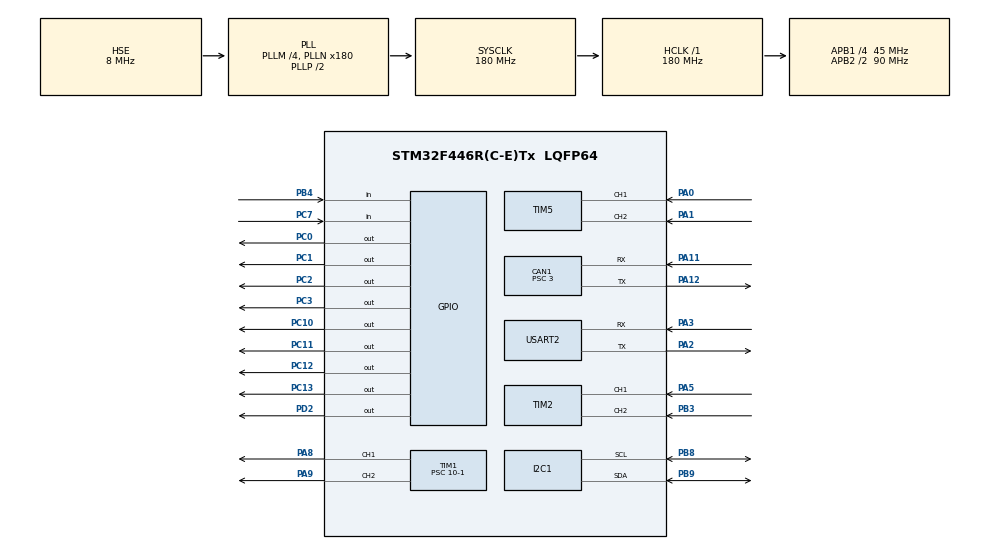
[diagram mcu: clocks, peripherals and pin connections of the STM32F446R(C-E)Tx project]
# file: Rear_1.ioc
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CAN1.ABOM=ENABLE
CAN1.BS1=CAN_BS1_12TQ
CAN1.BS2=CAN_BS2_2TQ
CAN1.CalculateBaudRate=1000000
CAN1.CalculateTimeBit=1000
CAN1.CalculateTimeQuantum=66.66666666666666
CAN1.NART=ENABLE
CAN1.Prescaler=3
I2C1.I2C_Mode=I2C_Fast
Mcu.Family=STM32F4
Mcu.Name=STM32F446R(C-E)Tx
Mcu.Package=LQFP64
NVIC.CAN1_RX0_IRQn=true\:0\:0\:false\:false\:true\:true\:true\:true
NVIC.I2C1_EV_IRQn=true\:0\:0\:false\:false\:true\:true\:true\:true
NVIC.PriorityGroup=NVIC_PRIORITYGROUP_0
NVIC.TIM2_IRQn=true\:0\:0\:false\:false\:true\:true\:true\:true
NVIC.TIM3_IRQn=true\:0\:0\:false\:false\:true\:true\:true\:true
NVIC.TIM4_IRQn=true\:0\:0\:false\:false\:true\:true\:true\:true
NVIC.TIM5_IRQn=true\:0\:0\:false\:false\:true\:true\:true\:true
NVIC.TIM7_IRQn=true\:0\:0\:false\:false\:true\:true\:true\:true
PA0-WKUP.Signal=S_TIM5_CH1
PA1.Signal=S_TIM5_CH2
PA11.Mode=CAN_Activate
PA11.Signal=CAN1_RX
PA12.Mode=CAN_Activate
PA12.Signal=CAN1_TX
PA2.Mode=Asynchronous
PA2.Signal=USART2_TX
PA3.Mode=Asynchronous
PA3.Signal=USART2_RX
PA5.Signal=S_TIM2_CH1_ETR
PA8.Signal=S_TIM1_CH1
PA9.Signal=S_TIM1_CH2
PB3.Signal=S_TIM2_CH2
PB4.Signal=GPIO_Input
PB8.Mode=I2C
PB8.Signal=I2C1_SCL
PB9.Mode=I2C
PB9.Signal=I2C1_SDA
PC0.GPIO_ModeDefaultOutputPP=GPIO_MODE_OUTPUT_OD
PC0.GPIO_PuPd=GPIO_NOPULL
PC0.Signal=GPIO_Output
PC1.GPIO_ModeDefaultOutputPP=GPIO_MODE_OUTPUT_OD
PC1.GPIO_PuPd=GPIO_NOPULL
PC1.Signal=GPIO_Output
PC10.GPIO_ModeDefaultOutputPP=GPIO_MODE_OUTPUT_OD
PC10.GPIO_PuPd=GPIO_NOPULL
PC10.Signal=GPIO_Output
PC11.GPIO_ModeDefaultOutputPP=GPIO_MODE_OUTPUT_OD
PC11.GPIO_PuPd=GPIO_NOPULL
PC11.Signal=GPIO_Output
PC12.GPIO_ModeDefaultOutputPP=GPIO_MODE_OUTPUT_OD
PC12.GPIO_PuPd=GPIO_NOPULL
PC12.Signal=GPIO_Output
PC13.Signal=GPIO_Output
PC14-OSC32_IN.Mode=LSE-External-Oscillator
PC14-OSC32_IN.Signal=RCC_OSC32_IN
PC15-OSC32_OUT.Mode=LSE-External-Oscillator
PC15-OSC32_OUT.Signal=RCC_OSC32_OUT
PC2.GPIO_ModeDefaultOutputPP=GPIO_MODE_OUTPUT_OD
PC2.GPIO_PuPd=GPIO_NOPULL
PC2.Signal=GPIO_Output
PC3.GPIO_ModeDefaultOutputPP=GPIO_MODE_OUTPUT_OD
PC3.GPIO_PuPd=GPIO_NOPULL
PC3.Signal=GPIO_Output
PC7.Signal=GPIO_Input
PD2.GPIO_ModeDefaultOutputPP=GPIO_MODE_OUTPUT_OD
PD2.GPIO_PuPd=GPIO_NOPULL
PD2.Signal=GPIO_Output
PH0-OSC_IN.Mode=HSE-External-Oscillator
PH0-OSC_IN.Signal=RCC_OSC_IN
PH1-OSC_OUT.Mode=HSE-External-Oscillator
PH1-OSC_OUT.Signal=RCC_OSC_OUT
ProjectManager.HeapSize=0x200
ProjectManager.StackSize=0x400
ProjectManager.TargetToolchain=STM32CubeIDE
RCC.48MHZClocksFreq_Value=84000000
RCC.AHBFreq_Value=180000000
RCC.APB1CLKDivider=RCC_HCLK_DIV4
RCC.APB1Freq_Value=45000000
RCC.APB1TimFreq_Value=90000000
RCC.APB2CLKDivider=RCC_HCLK_DIV2
RCC.APB2Freq_Value=90000000
RCC.APB2TimFreq_Value=180000000
RCC.CortexFreq_Value=180000000
RCC.FLatency-AdvancedSettings=FLASH_LATENCY_5
RCC.HCLKFreq_Value=180000000
RCC.HSE_VALUE=8000000
RCC.HSI_VALUE=16000000
RCC.PLLM=4
RCC.PLLN=180
RCC.PLLSourceVirtual=RCC_PLLSOURCE_HSE
RCC.SYSCLKFreq_VALUE=180000000
RCC.SYSCLKSource=RCC_SYSCLKSOURCE_PLLCLK
RCC.USBFreq_Value=180000000
RCC.VCOOutputFreq_Value=360000000
SH.S_TIM1_CH1.0=TIM1_CH1,PWM Generation1 CH1
SH.S_TIM1_CH2.0=TIM1_CH2,PWM Generation2 CH2
SH.S_TIM2_CH1_ETR.0=TIM2_CH1,Encoder_Interface
SH.S_TIM2_CH2.0=TIM2_CH2,Encoder_Interface
SH.S_TIM5_CH1.0=TIM5_CH1,Encoder_Interface
SH.S_TIM5_CH2.0=TIM5_CH2,Encoder_Interface
TIM1.Channel-PWM\ Generation1\ CH1=TIM_CHANNEL_1
TIM1.Channel-PWM\ Generation2\ CH2=TIM_CHANNEL_2
TIM1.Period=9000-1
TIM1.Prescaler=10-1
TIM1.Pulse-PWM\ Generation1\ CH1=4500-1
TIM1.Pulse-PWM\ Generation2\ CH2=4500-1
TIM2.EncoderMode=TIM_ENCODERMODE_TI12
TIM3.Period=16650-1
TIM3.Prescaler=200-1
TIM4.Period=3600-1
TIM4.Prescaler=25-1
TIM5.EncoderMode=TIM_ENCODERMODE_TI12
TIM7.Period=9900-1
TIM7.Prescaler=100-1
USART2.VirtualMode=VM_ASYNC
VP_TIM3_VS_ClockSourceINT.Mode=Internal
VP_TIM4_VS_ClockSourceINT.Mode=Internal
VP_TIM7_VS_ClockSourceINT.Mode=Enable_Timer
board=NUCLEO-F446RE

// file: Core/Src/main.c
/* USER CODE BEGIN Header */
/**
  ******************************************************************************
  * @file           : main.c
  * @brief          : Main program body
  ******************************************************************************
  * @attention
  *
  * Copyright (c) 2022 STMicroelectronics.
  * All rights reserved.
  *
  * This software is licensed under terms that can be found in the LICENSE file
  * in the root directory of this software component.
  * If no LICENSE file comes with this software, it is provided AS-IS.
  *
  ******************************************************************************
  */
/* USER CODE END Header */
#include "main.h"

/* USER CODE BEGIN Includes */
#include "VL53L1X_api.h"
/* USER CODE END Includes */

/* USER CODE BEGIN PM */
#define DIR_FORWARD 0
#define DIR_BACKWARD 1
/* USER CODE END PM */

CAN_HandleTypeDef hcan1;

I2C_HandleTypeDef hi2c1;

TIM_HandleTypeDef htim1;
TIM_HandleTypeDef htim2;
TIM_HandleTypeDef htim3;
TIM_HandleTypeDef htim4;
TIM_HandleTypeDef htim5;
TIM_HandleTypeDef htim7;

UART_HandleTypeDef huart2;

/* USER CODE BEGIN PV */
uint16_t dev = 0x52;

uint8_t nof = 0;
uint16_t* dis = NULL;

uint8_t devs[9] = {
		0x54,
		0x56,
		0x58,
		0x5A,
		0x5C,
		0x5E,
		0x60,
		0x62,
		0x64
};

CAN_FilterTypeDef canFilter1;
CAN_RxHeaderTypeDef can1RxHeader;
CAN_TxHeaderTypeDef can1TxHeader;

uint8_t can1Rx0Data[8];
uint32_t TxMailBox1;
uint8_t can1Tx0Data[8];

volatile unsigned int counter0 = 0;
volatile unsigned int counter1 = 0;
volatile unsigned int oldCounter0 = 0;
volatile unsigned int oldCounter1 = 0;
volatile long diff0 = 0;
volatile long diff1 = 0;

float Kp = 0.3f;
float Ki = 0.3f;
float Kd = 0.3f;

float right_before_error0 = 0.0f;
float right_before_error1 = 0.0f;
float before_error0 = 0.0f;
float before_error1 = 0.0f;
/* USER CODE END PV */

void SystemClock_Config(void);
static void MX_GPIO_Init(void);
static void MX_USART2_UART_Init(void);
static void MX_I2C1_Init(void);
static void MX_TIM3_Init(void);
static void MX_CAN1_Init(void);
static void MX_TIM4_Init(void);
static void MX_TIM7_Init(void);
static void MX_TIM1_Init(void);
static void MX_TIM2_Init(void);
static void MX_TIM5_Init(void);
/* USER CODE BEGIN PFP */
void TurnOffAll(void);
uint8_t TurnOnAt(uint8_t i);
uint16_t ChangeAddresses(void);
uint8_t GetAllData(void);
void PrintAllData(void);

void HAL_CAN_RxFifo0MsgPendingCallback(CAN_HandleTypeDef *hcan);
void CAN_Filter_Init(void);
void CAN_Send(uint8_t ID, uint8_t data0, uint8_t data1, uint8_t data2, uint8_t data3, uint8_t data4, uint8_t data5, uint8_t data6, uint8_t data7);
void CAN_SendAll(void);

void setLeftMotorCCR(uint16_t ccr, uint8_t dir);
void setRightMotorCCR(uint16_t ccr, uint8_t dir);
void controlLeftSpeed(float desired_speed0);
void controlRightSpeed(float desired_speed1);
/* USER CODE END PFP */

/* USER CODE BEGIN 0 */
union Speedtype {
	float fl;
	uint32_t i;
};

union Speedtype speed0;
union Speedtype speed1;
union Speedtype desired_speed0;
union Speedtype desired_speed1;

int _write(int file, char* p, int len) {
	HAL_UART_Transmit(&huart2, p, len, 16);
	return len;
}
/* USER CODE END 0 */

int main(void)
{

  /* MCU Configuration--------------------------------------------------------*/

  /* Reset of all peripherals, Initializes the Flash interface and the Systick. */
  HAL_Init();

  /* USER CODE BEGIN Init */
  dis = calloc(nof, 16 * nof);
  /* USER CODE END Init */

  /* Configure the system clock */
  SystemClock_Config();

  /* Initialize all configured peripherals */
  MX_GPIO_Init();
  MX_USART2_UART_Init();
  MX_I2C1_Init();
  MX_TIM3_Init();
  MX_CAN1_Init();
  MX_TIM4_Init();
  MX_TIM7_Init();
  MX_TIM1_Init();
  MX_TIM2_Init();
  MX_TIM5_Init();
  /* USER CODE BEGIN 2 */
  //setLeftMotorCCR(0, DIR_FORWARD);
  //setRightMotorCCR(0, DIR_FORWARD);

  if (!(ChangeAddresses())) {
	  //HAL_UART_Transmit(&huart2, fail, 6, 10);
  }
  else {
	  //HAL_UART_Transmit(&huart2, succ, 6, 10);
  }

  HAL_TIM_PWM_Start(&htim1, TIM_CHANNEL_1);
  HAL_TIM_PWM_Start(&htim1, TIM_CHANNEL_2);

  HAL_TIM_Encoder_Start_IT(&htim2, TIM_CHANNEL_ALL);
  HAL_TIM_Encoder_Start_IT(&htim5, TIM_CHANNEL_ALL);

  HAL_TIM_Base_Start_IT(&htim7);
  HAL_TIM_Base_Start_IT(&htim3);
  HAL_TIM_Base_Start_IT(&htim4);
  /* USER CODE END 2 */

  /* Infinite loop */
  while (1)
  {

    /* USER CODE BEGIN 3 */
  }
    free(dis);
  /* USER CODE END 3 */
}

void SystemClock_Config(void)
{
  RCC_OscInitTypeDef RCC_OscInitStruct = {0};
  RCC_ClkInitTypeDef RCC_ClkInitStruct = {0};

  /** Configure the main internal regulator output voltage
  */
  __HAL_RCC_PWR_CLK_ENABLE();
  __HAL_PWR_VOLTAGESCALING_CONFIG(PWR_REGULATOR_VOLTAGE_SCALE1);

  /** Initializes the RCC Oscillators according to the specified parameters
  * in the RCC_OscInitTypeDef structure.
  */
  RCC_OscInitStruct.OscillatorType = RCC_OSCILLATORTYPE_HSE;
  RCC_OscInitStruct.HSEState = RCC_HSE_ON;
  RCC_OscInitStruct.PLL.PLLState = RCC_PLL_ON;
  RCC_OscInitStruct.PLL.PLLSource = RCC_PLLSOURCE_HSE;
  RCC_OscInitStruct.PLL.PLLM = 4;
  RCC_OscInitStruct.PLL.PLLN = 180;
  RCC_OscInitStruct.PLL.PLLP = RCC_PLLP_DIV2;
  RCC_OscInitStruct.PLL.PLLQ = 2;
  RCC_OscInitStruct.PLL.PLLR = 2;
  if (HAL_RCC_OscConfig(&RCC_OscInitStruct) != HAL_OK)
  {
    Error_Handler();
  }

  /** Activate the Over-Drive mode
  */
  if (HAL_PWREx_EnableOverDrive() != HAL_OK)
  {
    Error_Handler();
  }

  /** Initializes the CPU, AHB and APB buses clocks
  */
  RCC_ClkInitStruct.ClockType = RCC_CLOCKTYPE_HCLK|RCC_CLOCKTYPE_SYSCLK
                              |RCC_CLOCKTYPE_PCLK1|RCC_CLOCKTYPE_PCLK2;
  RCC_ClkInitStruct.SYSCLKSource = RCC_SYSCLKSOURCE_PLLCLK;
  RCC_ClkInitStruct.AHBCLKDivider = RCC_SYSCLK_DIV1;
  RCC_ClkInitStruct.APB1CLKDivider = RCC_HCLK_DIV4;
  RCC_ClkInitStruct.APB2CLKDivider = RCC_HCLK_DIV2;

  if (HAL_RCC_ClockConfig(&RCC_ClkInitStruct, FLASH_LATENCY_5) != HAL_OK)
  {
    Error_Handler();
  }
}

static void MX_CAN1_Init(void)
{

  hcan1.Instance = CAN1;
  hcan1.Init.Prescaler = 3;
  hcan1.Init.Mode = CAN_MODE_NORMAL;
  hcan1.Init.SyncJumpWidth = CAN_SJW_1TQ;
  hcan1.Init.TimeSeg1 = CAN_BS1_12TQ;
  hcan1.Init.TimeSeg2 = CAN_BS2_2TQ;
  hcan1.Init.TimeTriggeredMode = DISABLE;
  hcan1.Init.AutoBusOff = ENABLE;
  hcan1.Init.AutoWakeUp = DISABLE;
  hcan1.Init.AutoRetransmission = ENABLE;
  hcan1.Init.ReceiveFifoLocked = DISABLE;
  hcan1.Init.TransmitFifoPriority = DISABLE;
  if (HAL_CAN_Init(&hcan1) != HAL_OK)
  {
    Error_Handler();
  }
  /* USER CODE BEGIN CAN1_Init 2 */
  CAN_Filter_Init();
  /* USER CODE END CAN1_Init 2 */

}

static void MX_I2C1_Init(void)
{

  hi2c1.Instance = I2C1;
  hi2c1.Init.ClockSpeed = 400000;
  hi2c1.Init.DutyCycle = I2C_DUTYCYCLE_2;
  hi2c1.Init.OwnAddress1 = 0;
  hi2c1.Init.AddressingMode = I2C_ADDRESSINGMODE_7BIT;
  hi2c1.Init.DualAddressMode = I2C_DUALADDRESS_DISABLE;
  hi2c1.Init.OwnAddress2 = 0;
  hi2c1.Init.GeneralCallMode = I2C_GENERALCALL_DISABLE;
  hi2c1.Init.NoStretchMode = I2C_NOSTRETCH_DISABLE;
  if (HAL_I2C_Init(&hi2c1) != HAL_OK)
  {
    Error_Handler();
  }

}

static void MX_TIM1_Init(void)
{

  TIM_MasterConfigTypeDef sMasterConfig = {0};
  TIM_OC_InitTypeDef sConfigOC = {0};
  TIM_BreakDeadTimeConfigTypeDef sBreakDeadTimeConfig = {0};

  htim1.Instance = TIM1;
  htim1.Init.Prescaler = 10-1;
  htim1.Init.CounterMode = TIM_COUNTERMODE_UP;
  htim1.Init.Period = 9000-1;
  htim1.Init.ClockDivision = TIM_CLOCKDIVISION_DIV1;
  htim1.Init.RepetitionCounter = 0;
  htim1.Init.AutoReloadPreload = TIM_AUTORELOAD_PRELOAD_DISABLE;
  if (HAL_TIM_PWM_Init(&htim1) != HAL_OK)
  {
    Error_Handler();
  }
  sMasterConfig.MasterOutputTrigger = TIM_TRGO_RESET;
  sMasterConfig.MasterSlaveMode = TIM_MASTERSLAVEMODE_DISABLE;
  if (HAL_TIMEx_MasterConfigSynchronization(&htim1, &sMasterConfig) != HAL_OK)
  {
    Error_Handler();
  }
  sConfigOC.OCMode = TIM_OCMODE_PWM1;
  sConfigOC.Pulse = 4500-1;
  sConfigOC.OCPolarity = TIM_OCPOLARITY_HIGH;
  sConfigOC.OCNPolarity = TIM_OCNPOLARITY_HIGH;
  sConfigOC.OCFastMode = TIM_OCFAST_DISABLE;
  sConfigOC.OCIdleState = TIM_OCIDLESTATE_RESET;
  sConfigOC.OCNIdleState = TIM_OCNIDLESTATE_RESET;
  if (HAL_TIM_PWM_ConfigChannel(&htim1, &sConfigOC, TIM_CHANNEL_1) != HAL_OK)
  {
    Error_Handler();
  }
  if (HAL_TIM_PWM_ConfigChannel(&htim1, &sConfigOC, TIM_CHANNEL_2) != HAL_OK)
  {
    Error_Handler();
  }
  sBreakDeadTimeConfig.OffStateRunMode = TIM_OSSR_DISABLE;
  sBreakDeadTimeConfig.OffStateIDLEMode = TIM_OSSI_DISABLE;
  sBreakDeadTimeConfig.LockLevel = TIM_LOCKLEVEL_OFF;
  sBreakDeadTimeConfig.DeadTime = 0;
  sBreakDeadTimeConfig.BreakState = TIM_BREAK_DISABLE;
  sBreakDeadTimeConfig.BreakPolarity = TIM_BREAKPOLARITY_HIGH;
  sBreakDeadTimeConfig.AutomaticOutput = TIM_AUTOMATICOUTPUT_DISABLE;
  if (HAL_TIMEx_ConfigBreakDeadTime(&htim1, &sBreakDeadTimeConfig) != HAL_OK)
  {
    Error_Handler();
  }
  HAL_TIM_MspPostInit(&htim1);

}

static void MX_TIM2_Init(void)
{

  TIM_Encoder_InitTypeDef sConfig = {0};
  TIM_MasterConfigTypeDef sMasterConfig = {0};

  htim2.Instance = TIM2;
  htim2.Init.Prescaler = 0;
  htim2.Init.CounterMode = TIM_COUNTERMODE_UP;
  htim2.Init.Period = 4294967295;
  htim2.Init.ClockDivision = TIM_CLOCKDIVISION_DIV1;
  htim2.Init.AutoReloadPreload = TIM_AUTORELOAD_PRELOAD_DISABLE;
  sConfig.EncoderMode = TIM_ENCODERMODE_TI12;
  sConfig.IC1Polarity = TIM_ICPOLARITY_RISING;
  sConfig.IC1Selection = TIM_ICSELECTION_DIRECTTI;
  sConfig.IC1Prescaler = TIM_ICPSC_DIV1;
  sConfig.IC1Filter = 0;
  sConfig.IC2Polarity = TIM_ICPOLARITY_RISING;
  sConfig.IC2Selection = TIM_ICSELECTION_DIRECTTI;
  sConfig.IC2Prescaler = TIM_ICPSC_DIV1;
  sConfig.IC2Filter = 0;
  if (HAL_TIM_Encoder_Init(&htim2, &sConfig) != HAL_OK)
  {
    Error_Handler();
  }
  sMasterConfig.MasterOutputTrigger = TIM_TRGO_RESET;
  sMasterConfig.MasterSlaveMode = TIM_MASTERSLAVEMODE_DISABLE;
  if (HAL_TIMEx_MasterConfigSynchronization(&htim2, &sMasterConfig) != HAL_OK)
  {
    Error_Handler();
  }

}

static void MX_TIM3_Init(void)
{

  TIM_ClockConfigTypeDef sClockSourceConfig = {0};
  TIM_MasterConfigTypeDef sMasterConfig = {0};

  htim3.Instance = TIM3;
  htim3.Init.Prescaler = 200-1;
  htim3.Init.CounterMode = TIM_COUNTERMODE_UP;
  htim3.Init.Period = 16650-1;
  htim3.Init.ClockDivision = TIM_CLOCKDIVISION_DIV1;
  htim3.Init.AutoReloadPreload = TIM_AUTORELOAD_PRELOAD_DISABLE;
  if (HAL_TIM_Base_Init(&htim3) != HAL_OK)
  {
    Error_Handler();
  }
  sClockSourceConfig.ClockSource = TIM_CLOCKSOURCE_INTERNAL;
  if (HAL_TIM_ConfigClockSource(&htim3, &sClockSourceConfig) != HAL_OK)
  {
    Error_Handler();
  }
  sMasterConfig.MasterOutputTrigger = TIM_TRGO_RESET;
  sMasterConfig.MasterSlaveMode = TIM_MASTERSLAVEMODE_DISABLE;
  if (HAL_TIMEx_MasterConfigSynchronization(&htim3, &sMasterConfig) != HAL_OK)
  {
    Error_Handler();
  }

}

static void MX_TIM4_Init(void)
{

  TIM_ClockConfigTypeDef sClockSourceConfig = {0};
  TIM_MasterConfigTypeDef sMasterConfig = {0};

  htim4.Instance = TIM4;
  htim4.Init.Prescaler = 25-1;
  htim4.Init.CounterMode = TIM_COUNTERMODE_UP;
  htim4.Init.Period = 3600-1;
  htim4.Init.ClockDivision = TIM_CLOCKDIVISION_DIV1;
  htim4.Init.AutoReloadPreload = TIM_AUTORELOAD_PRELOAD_DISABLE;
  if (HAL_TIM_Base_Init(&htim4) != HAL_OK)
  {
    Error_Handler();
  }
  sClockSourceConfig.ClockSource = TIM_CLOCKSOURCE_INTERNAL;
  if (HAL_TIM_ConfigClockSource(&htim4, &sClockSourceConfig) != HAL_OK)
  {
    Error_Handler();
  }
  sMasterConfig.MasterOutputTrigger = TIM_TRGO_RESET;
  sMasterConfig.MasterSlaveMode = TIM_MASTERSLAVEMODE_DISABLE;
  if (HAL_TIMEx_MasterConfigSynchronization(&htim4, &sMasterConfig) != HAL_OK)
  {
    Error_Handler();
  }

}

static void MX_TIM5_Init(void)
{

  TIM_Encoder_InitTypeDef sConfig = {0};
  TIM_MasterConfigTypeDef sMasterConfig = {0};

  htim5.Instance = TIM5;
  htim5.Init.Prescaler = 0;
  htim5.Init.CounterMode = TIM_COUNTERMODE_UP;
  htim5.Init.Period = 4294967295;
  htim5.Init.ClockDivision = TIM_CLOCKDIVISION_DIV1;
  htim5.Init.AutoReloadPreload = TIM_AUTORELOAD_PRELOAD_DISABLE;
  sConfig.EncoderMode = TIM_ENCODERMODE_TI12;
  sConfig.IC1Polarity = TIM_ICPOLARITY_RISING;
  sConfig.IC1Selection = TIM_ICSELECTION_DIRECTTI;
  sConfig.IC1Prescaler = TIM_ICPSC_DIV1;
  sConfig.IC1Filter = 0;
  sConfig.IC2Polarity = TIM_ICPOLARITY_RISING;
  sConfig.IC2Selection = TIM_ICSELECTION_DIRECTTI;
  sConfig.IC2Prescaler = TIM_ICPSC_DIV1;
  sConfig.IC2Filter = 0;
  if (HAL_TIM_Encoder_Init(&htim5, &sConfig) != HAL_OK)
  {
    Error_Handler();
  }
  sMasterConfig.MasterOutputTrigger = TIM_TRGO_RESET;
  sMasterConfig.MasterSlaveMode = TIM_MASTERSLAVEMODE_DISABLE;
  if (HAL_TIMEx_MasterConfigSynchronization(&htim5, &sMasterConfig) != HAL_OK)
  {
    Error_Handler();
  }

}

static void MX_TIM7_Init(void)
{

  TIM_MasterConfigTypeDef sMasterConfig = {0};

  htim7.Instance = TIM7;
  htim7.Init.Prescaler = 100-1;
  htim7.Init.CounterMode = TIM_COUNTERMODE_UP;
  htim7.Init.Period = 9900-1;
  htim7.Init.AutoReloadPreload = TIM_AUTORELOAD_PRELOAD_DISABLE;
  if (HAL_TIM_Base_Init(&htim7) != HAL_OK)
  {
    Error_Handler();
  }
  sMasterConfig.MasterOutputTrigger = TIM_TRGO_RESET;
  sMasterConfig.MasterSlaveMode = TIM_MASTERSLAVEMODE_DISABLE;
  if (HAL_TIMEx_MasterConfigSynchronization(&htim7, &sMasterConfig) != HAL_OK)
  {
    Error_Handler();
  }

}

static void MX_USART2_UART_Init(void)
{

  huart2.Instance = USART2;
  huart2.Init.BaudRate = 115200;
  huart2.Init.WordLength = UART_WORDLENGTH_8B;
  huart2.Init.StopBits = UART_STOPBITS_1;
  huart2.Init.Parity = UART_PARITY_NONE;
  huart2.Init.Mode = UART_MODE_TX_RX;
  huart2.Init.HwFlowCtl = UART_HWCONTROL_NONE;
  huart2.Init.OverSampling = UART_OVERSAMPLING_16;
  if (HAL_UART_Init(&huart2) != HAL_OK)
  {
    Error_Handler();
  }

}

static void MX_GPIO_Init(void)
{
  GPIO_InitTypeDef GPIO_InitStruct = {0};

  /* GPIO Ports Clock Enable */
  __HAL_RCC_GPIOC_CLK_ENABLE();
  __HAL_RCC_GPIOH_CLK_ENABLE();
  __HAL_RCC_GPIOA_CLK_ENABLE();
  __HAL_RCC_GPIOD_CLK_ENABLE();
  __HAL_RCC_GPIOB_CLK_ENABLE();

  /*Configure GPIO pin Output Level */
  HAL_GPIO_WritePin(GPIOC, GPIO_PIN_13|GPIO_PIN_0|GPIO_PIN_1|GPIO_PIN_2
                          |GPIO_PIN_3|GPIO_PIN_10|GPIO_PIN_11|GPIO_PIN_12, GPIO_PIN_RESET);

  /*Configure GPIO pin Output Level */
  HAL_GPIO_WritePin(GPIOD, GPIO_PIN_2, GPIO_PIN_RESET);

  /*Configure GPIO pin : PC13 */
  GPIO_InitStruct.Pin = GPIO_PIN_13;
  GPIO_InitStruct.Mode = GPIO_MODE_OUTPUT_PP;
  GPIO_InitStruct.Pull = GPIO_NOPULL;
  GPIO_InitStruct.Speed = GPIO_SPEED_FREQ_LOW;
  HAL_GPIO_Init(GPIOC, &GPIO_InitStruct);

  /*Configure GPIO pins : PC0 PC1 PC2 PC3
                           PC10 PC11 PC12 */
  GPIO_InitStruct.Pin = GPIO_PIN_0|GPIO_PIN_1|GPIO_PIN_2|GPIO_PIN_3
                          |GPIO_PIN_10|GPIO_PIN_11|GPIO_PIN_12;
  GPIO_InitStruct.Mode = GPIO_MODE_OUTPUT_OD;
  GPIO_InitStruct.Pull = GPIO_NOPULL;
  GPIO_InitStruct.Speed = GPIO_SPEED_FREQ_LOW;
  HAL_GPIO_Init(GPIOC, &GPIO_InitStruct);

  /*Configure GPIO pin : PC7 */
  GPIO_InitStruct.Pin = GPIO_PIN_7;
  GPIO_InitStruct.Mode = GPIO_MODE_INPUT;
  GPIO_InitStruct.Pull = GPIO_NOPULL;
  HAL_GPIO_Init(GPIOC, &GPIO_InitStruct);

  /*Configure GPIO pin : PD2 */
  GPIO_InitStruct.Pin = GPIO_PIN_2;
  GPIO_InitStruct.Mode = GPIO_MODE_OUTPUT_OD;
  GPIO_InitStruct.Pull = GPIO_NOPULL;
  GPIO_InitStruct.Speed = GPIO_SPEED_FREQ_LOW;
  HAL_GPIO_Init(GPIOD, &GPIO_InitStruct);

  /*Configure GPIO pin : PB4 */
  GPIO_InitStruct.Pin = GPIO_PIN_4;
  GPIO_InitStruct.Mode = GPIO_MODE_INPUT;
  GPIO_InitStruct.Pull = GPIO_NOPULL;
  HAL_GPIO_Init(GPIOB, &GPIO_InitStruct);

}

/* USER CODE BEGIN 4 */
void TurnOffAll(void) {
	  HAL_GPIO_WritePin(GPIOC, GPIO_PIN_10, GPIO_PIN_RESET);
	  HAL_GPIO_WritePin(GPIOC, GPIO_PIN_11, GPIO_PIN_RESET);
	  HAL_GPIO_WritePin(GPIOC, GPIO_PIN_12, GPIO_PIN_RESET);
	  HAL_GPIO_WritePin(GPIOD, GPIO_PIN_2, GPIO_PIN_RESET);
	  HAL_GPIO_WritePin(GPIOC, GPIO_PIN_13, GPIO_PIN_RESET);
	  HAL_GPIO_WritePin(GPIOC, GPIO_PIN_2, GPIO_PIN_RESET);
	  HAL_GPIO_WritePin(GPIOC, GPIO_PIN_3, GPIO_PIN_RESET);
	  HAL_GPIO_WritePin(GPIOC, GPIO_PIN_0, GPIO_PIN_RESET);
	  HAL_GPIO_WritePin(GPIOC, GPIO_PIN_1, GPIO_PIN_RESET);
}

uint8_t TurnOnAt(uint8_t i) {
	uint8_t bootState = 0;
	uint8_t boot[8] = {66, 79, 79, 84, 48, 13, 10, 0};
	switch (i) {
	case 0:
		HAL_GPIO_WritePin(GPIOC, GPIO_PIN_10, GPIO_PIN_SET);
		HAL_Delay(5);
		VL53L1X_BootState(dev, &bootState);
		while(bootState==0){
			HAL_GPIO_WritePin(GPIOC, GPIO_PIN_10, GPIO_PIN_RESET);
			HAL_Delay(10);
			HAL_GPIO_WritePin(GPIOC, GPIO_PIN_10, GPIO_PIN_SET);
			HAL_Delay(10);
			VL53L1X_BootState(dev, &bootState);
			HAL_UART_Transmit(&huart2, boot, 8, 10);
			HAL_Delay(2);
		}
		break;
	case 1:
		HAL_GPIO_WritePin(GPIOC, GPIO_PIN_11, GPIO_PIN_SET);
		HAL_Delay(5);
		boot[4] = 49;
		VL53L1X_BootState(dev, &bootState);
		while(bootState==0){
			HAL_GPIO_WritePin(GPIOC, GPIO_PIN_11, GPIO_PIN_RESET);
			HAL_Delay(10);
			HAL_GPIO_WritePin(GPIOC, GPIO_PIN_11, GPIO_PIN_SET);
			HAL_Delay(10);
			VL53L1X_BootState(dev, &bootState);
			HAL_UART_Transmit(&huart2, boot, 8, 10);
			HAL_Delay(2);
		}
		break;
	case 2:
		HAL_GPIO_WritePin(GPIOC, GPIO_PIN_12, GPIO_PIN_SET);
		HAL_Delay(5);
		boot[4] = 50;
		VL53L1X_BootState(dev, &bootState);
		while(bootState==0){
			HAL_GPIO_WritePin(GPIOC, GPIO_PIN_12, GPIO_PIN_RESET);
			HAL_Delay(10);
			HAL_GPIO_WritePin(GPIOC, GPIO_PIN_12, GPIO_PIN_SET);
			HAL_Delay(10);
			VL53L1X_BootState(dev, &bootState);
			HAL_UART_Transmit(&huart2, boot, 8, 10);
			HAL_Delay(2);
		}
		break;
	case 3:
		HAL_GPIO_WritePin(GPIOD, GPIO_PIN_2, GPIO_PIN_SET);
		HAL_Delay(5);
		boot[4] = 51;
		VL53L1X_BootState(dev, &bootState);
		while(bootState==0){
			HAL_GPIO_WritePin(GPIOD, GPIO_PIN_2, GPIO_PIN_RESET);
			HAL_Delay(10);
			HAL_GPIO_WritePin(GPIOD, GPIO_PIN_2, GPIO_PIN_SET);
			HAL_Delay(10);
			VL53L1X_BootState(dev, &bootState);
			HAL_UART_Transmit(&huart2, boot, 8, 10);
			HAL_Delay(2);
		}
		break;
	case 4:
		HAL_GPIO_WritePin(GPIOC, GPIO_PIN_13, GPIO_PIN_SET);
		HAL_Delay(5);
		boot[4] = 52;
		VL53L1X_BootState(dev, &bootState);
		while(bootState==0){
			HAL_GPIO_WritePin(GPIOC, GPIO_PIN_13, GPIO_PIN_RESET);
			HAL_Delay(10);
			HAL_GPIO_WritePin(GPIOC, GPIO_PIN_13, GPIO_PIN_SET);
			HAL_Delay(10);
			VL53L1X_BootState(dev, &bootState);
			HAL_UART_Transmit(&huart2, boot, 8, 10);
			HAL_Delay(2);
		}
		break;
	case 5:
		HAL_GPIO_WritePin(GPIOC, GPIO_PIN_2, GPIO_PIN_SET);
		HAL_Delay(5);
		boot[4] = 53;
		VL53L1X_BootState(dev, &bootState);
		while(bootState==0){
			HAL_GPIO_WritePin(GPIOC, GPIO_PIN_2, GPIO_PIN_RESET);
			HAL_Delay(10);
			HAL_GPIO_WritePin(GPIOC, GPIO_PIN_2, GPIO_PIN_SET);
			HAL_Delay(10);
			VL53L1X_BootState(dev, &bootState);
			HAL_UART_Transmit(&huart2, boot, 8, 10);
			HAL_Delay(2);
		}
		break;
	case 6:
		HAL_GPIO_WritePin(GPIOC, GPIO_PIN_3, GPIO_PIN_SET);
		HAL_Delay(5);
		boot[4] = 54;
		VL53L1X_BootState(dev, &bootState);
		while(bootState==0){
			HAL_GPIO_WritePin(GPIOC, GPIO_PIN_3, GPIO_PIN_RESET);
			HAL_Delay(10);
			HAL_GPIO_WritePin(GPIOC, GPIO_PIN_3, GPIO_PIN_SET);
			HAL_Delay(10);
			VL53L1X_BootState(dev, &bootState);
			HAL_UART_Transmit(&huart2, boot, 8, 10);
			HAL_Delay(2);
		}
		break;
	case 7:
		HAL_GPIO_WritePin(GPIOC, GPIO_PIN_0, GPIO_PIN_SET);
		HAL_Delay(5);
		boot[4] = 55;
		VL53L1X_BootState(dev, &bootState);
		while(bootState==0){
			HAL_GPIO_WritePin(GPIOC, GPIO_PIN_0, GPIO_PIN_RESET);
			HAL_Delay(10);
			HAL_GPIO_WritePin(GPIOC, GPIO_PIN_0, GPIO_PIN_SET);
			HAL_Delay(10);
			VL53L1X_BootState(dev, &bootState);
			HAL_UART_Transmit(&huart2, boot, 8, 10);
			HAL_Delay(2);
		}
		break;
	case 8:
		HAL_GPIO_WritePin(GPIOC, GPIO_PIN_1, GPIO_PIN_SET);
		HAL_Delay(5);
		boot[4] = 56;
		VL53L1X_BootState(dev, &bootState);
		while(bootState==0){
			HAL_GPIO_WritePin(GPIOC, GPIO_PIN_1, GPIO_PIN_RESET);
			HAL_Delay(100);
			HAL_GPIO_WritePin(GPIOC, GPIO_PIN_1, GPIO_PIN_SET);
			HAL_Delay(100);
			VL53L1X_BootState(dev, &bootState);
			HAL_UART_Transmit(&huart2, boot, 8, 10);
			HAL_Delay(2);
		}
		break;
	default:
		;
		// shit
	}
	return bootState;
}

uint16_t ChangeAddresses(void) {
	uint8_t success = 1;
	TurnOffAll();
	HAL_Delay(10);
	for (uint8_t i = 0; i != nof; ++i) {
		success *= TurnOnAt(i);
		HAL_Delay(5);
		printf("try init: %d\r\n", i);
		VL53L1X_SensorInit(dev);
		printf("try addr change: %d\r\n", i);
		VL53L1X_SetI2CAddress(dev, devs[i]);
		VL53L1X_StartRanging(devs[i]);
		printf("done: %d\r\n", i);
	}
	return success;
}

uint8_t GetAllData(void) {
	VL53L1X_GetDistance(devs[0], &dis[0]);
	VL53L1X_ClearInterrupt(devs[0]);
	VL53L1X_GetDistance(devs[1], &dis[1]);
	VL53L1X_ClearInterrupt(devs[1]);
	VL53L1X_GetDistance(devs[2], &dis[2]);
	VL53L1X_ClearInterrupt(devs[2]);
	VL53L1X_GetDistance(devs[3], &dis[3]);
	VL53L1X_ClearInterrupt(devs[3]);
	VL53L1X_GetDistance(devs[4], &dis[4]);
	VL53L1X_ClearInterrupt(devs[4]);
	VL53L1X_GetDistance(devs[5], &dis[5]);
	VL53L1X_ClearInterrupt(devs[5]);
	VL53L1X_GetDistance(devs[6], &dis[6]);
	VL53L1X_ClearInterrupt(devs[6]);
	VL53L1X_GetDistance(devs[7], &dis[7]);
	VL53L1X_ClearInterrupt(devs[7]);
	VL53L1X_GetDistance(devs[8], &dis[8]);
	VL53L1X_ClearInterrupt(devs[8]);
}

void PrintAllData(void) {
	for (int i = 0; i != nof; ++i) {
		printf("%d:%d\r\n", i, dis[i]);
	}
	//HAL_Delay(500);
}

void CAN_Filter_Init(void)
{
	//Set the CAN Filter which has Mask Ids
	//CAN Filter1
	//Receiving CAN data via 0x102~0x10E
	canFilter1.FilterMaskIdHigh = 0x7F3 << 5; // Shift 5 bit
	canFilter1.FilterIdHigh = 0x106 << 5;
	canFilter1.FilterMaskIdLow = 0x7F3 << 5; // Shift 5 bit
	canFilter1.FilterIdLow = 0x106 << 5;
//	canFilter1.FilterMaskIdHigh = 0x000 << 5; // Shift 5 bit
//	canFilter1.FilterIdHigh = 0x000 << 5;
//	canFilter1.FilterMaskIdLow = 0x000 << 5; // Shift 5 bit
//	canFilter1.FilterIdLow = 0x000 << 5;
	canFilter1.FilterMode = CAN_FILTERMODE_IDMASK;
	canFilter1.FilterScale = CAN_FILTERSCALE_16BIT;
	canFilter1.FilterFIFOAssignment = CAN_FILTER_FIFO0;
	canFilter1.FilterBank = 0;
	canFilter1.FilterActivation = ENABLE;

	/* Set options for messages; ID type(standard), Length(8 byte) */
	can1TxHeader.RTR = CAN_RTR_DATA;
	can1TxHeader.IDE = CAN_ID_STD;
	can1TxHeader.DLC = 8;

	HAL_CAN_ConfigFilter(&hcan1, &canFilter1);
	HAL_CAN_ActivateNotification(&hcan1, CAN_IT_RX_FIFO0_MSG_PENDING);
	HAL_CAN_Start(&hcan1);
}

void CAN_Send(uint8_t ID, uint8_t data0, uint8_t data1, uint8_t data2, uint8_t data3, uint8_t data4, uint8_t data5, uint8_t data6, uint8_t data7)
{
	  /* Set options for messages; Address */
	  can1TxHeader.StdId = ID;

	  can1Tx0Data[7] = data7;
	  can1Tx0Data[6] = data6;
	  can1Tx0Data[5] = data5;
	  can1Tx0Data[4] = data4;
	  can1Tx0Data[3] = data3;
	  can1Tx0Data[2] = data2;
	  can1Tx0Data[1] = data1;
	  can1Tx0Data[0] = data0;

//	  can1Tx0Data[7] = 0;
//	  can1Tx0Data[6] = 10;
//	  can1Tx0Data[5] = 13;
//	  can1Tx0Data[4] = 111;
//	  can1Tx0Data[3] = 108;
//	  can1Tx0Data[2] = 108;
//	  can1Tx0Data[1] = 101;
//	  can1Tx0Data[0] = 72;

	  //TxMailBox1 = HAL_CAN_GetTxMailboxesFreeLevel(&hcan1);
	  HAL_CAN_AddTxMessage(&hcan1, &can1TxHeader, &can1Tx0Data[0], &TxMailBox1);
}

void CAN_SendAll(void) {
	CAN_Send(0x10, speed0.i & 0xFF, (speed0.i & 0xFF00) >> 8, (speed0.i & 0xFF0000) >> 16, speed0.i >> 24, speed1.i & 0xFF, (speed1.i & 0xFF00) >> 8, (speed1.i & 0xFF0000) >> 16, speed1.i >> 24);
	//CAN_Send(0x11, 0, 0, 0, 0, 0, 0, dis[0] >> 8, dis [0] & 0xFF);
//	CAN_Send(0x11, dis[0] >> 8, dis[0] & 0xFF, dis[1] >> 8, dis[1] & 0xFF, dis[2] >> 8, dis[2] & 0xFF, 0, 0);
//	CAN_Send(0x11, dis[3] >> 8, dis[3] & 0xFF, dis[4] >> 8, dis[4] & 0xFF, dis[5] >> 8, dis[5] & 0xFF, 0, 0);
//	while (HAL_CAN_GetTxMailboxesFreeLevel(&hcan1) == 0) ;
//	CAN_Send(0x11, dis[6] >> 8, dis[6] & 0xFF, dis[7] >> 8, dis[7] & 0xFF, dis[8] >> 8, dis[8] & 0xFF, 0, 0);
}

/* Receiving CAN Data */
/* Get CAN1 message Through FIFO0 */
void HAL_CAN_RxFifo0MsgPendingCallback(CAN_HandleTypeDef *hcan)
{
	HAL_CAN_GetRxMessage(&hcan1, CAN_RX_FIFO0, &can1RxHeader, can1Rx0Data);
	uint8_t left_dir = (can1Rx0Data[0] & 0b1000000) >> 7;
	float left_speed = (1 - 2 * left_dir) * ((can1Rx0Data[0] << 2) | (can1Rx0Data[1] << 16) | (can1Rx0Data[2] << 8) | (can1Rx0Data[3]));
	uint8_t right_dir = (can1Rx0Data[4] & 0b1000000) >> 7;
	float right_speed = (1 - 2 * left_dir) * ((can1Rx0Data[4] << 24) | (can1Rx0Data[5] << 16) | (can1Rx0Data[6] << 8) | (can1Rx0Data[7]));
//	setLeftMotorCCR(left_ccr, left_dir);
//	setRightMotorCCR(right_ccr, right_dir);
	printf("yes\r\n");
}

void setLeftMotorCCR(uint16_t ccr, uint8_t dir) {
	if (dir == DIR_BACKWARD) {
		HAL_GPIO_WritePin(GPIOC, GPIO_PIN_7, GPIO_PIN_SET);
	}
	else {
		HAL_GPIO_WritePin(GPIOC, GPIO_PIN_7, GPIO_PIN_RESET);

	}

	 //uint32_t ccr = (uint32_t) speed * 20;
	 if (ccr > TIM1->ARR) ccr = TIM1->ARR;
	 //printf("%d\r\n", ccr0);
	 TIM1->CCR2 = ccr;
	 //HAL_Delay(50);
}

void setRightMotorCCR(uint16_t ccr, uint8_t dir) {
	if (dir == DIR_BACKWARD) {
		HAL_GPIO_WritePin(GPIOB, GPIO_PIN_4, GPIO_PIN_RESET);
	}
	else {
		HAL_GPIO_WritePin(GPIOB, GPIO_PIN_4, GPIO_PIN_SET);
	}

	 //uint32_t ccr = (uint32_t) speed * 20;
	 if (ccr > TIM1->ARR) ccr = TIM1->ARR;
	 TIM1->CCR1 = ccr;
	 //HAL_Delay(50);
}

/*
void controlLeftSpeed(float desired_speed0) {
    float error0 = desired_speed0 - speed0;

    float e1 = error0 - right_before_error0;
    float e2 = error0 - right_before_error0 + before_error0;
    float u = Kp * e1 + Ki * error0 + Kd * e2;
    setLeftMotorSpeed(TIM1->CCR1 + u);
    before_error0 = right_before_error0;
    right_before_error0 = error0;
}

void controlRightSpeed(float desired_speed1) {
    float error1 = desired_speed1 - speed1;

    float e1 = error1 - right_before_error1;
    float e2 = error1 - right_before_error1 + before_error1;
    float u = Kp * e1 + Ki * error1 + Kd * e2;
    setRightMotorSpeed(TIM1->CCR2 + u);
    before_error1 = right_before_error1;
    right_before_error1 = error1;
}
*/

void HAL_TIM_PeriodElapsedCallback(TIM_HandleTypeDef *htim) {
	if (htim == &htim7) {
		  counter0 = __HAL_TIM_GET_COUNTER(&htim2);
		  counter1 = __HAL_TIM_GET_COUNTER(&htim5);

		  if (__HAL_TIM_IS_TIM_COUNTING_DOWN(&htim2)) {
			  if (counter0 <= oldCounter0){
				  // pure forward
				  //printf("a1,");
				  diff0 = -counter0 + oldCounter0;
			  }
			  else {
				  // backward -> forward
				  //printf("a2,");
				  diff0 = (4294967295 + oldCounter0) - counter0;
			  }
		  }
		  else {
			  if (counter0 <= oldCounter0) {
				  // forward -> backward
				  //printf("a3,");
				  diff0 = (4294967295 + oldCounter0) - counter0;
			  }
			  else {
				  // pure backward
				  //printf("a4,");
				  diff0 = -counter0 + oldCounter0;
			  }
		  }

		  if (__HAL_TIM_IS_TIM_COUNTING_DOWN(&htim5)) {
			  if (counter1 >= oldCounter1) {
				  // forward -> backward change
				  //printf("b1: ");
				  diff1 = (4294967295 - oldCounter1) + counter1;
			  }

			  else {
				  // pure backward
				  //printf("b2: ");
				  diff1 = counter1 - oldCounter1;
			  }
		  }
		  else {
			  if (counter1 >= oldCounter1) {
				  // pure forward
				  //printf("b3: ");
				  diff1 = counter1 - oldCounter1;
			  }
			  else {
				  // backward -> forward change
				  //printf("b4: ");
				  diff1 = (4294967295 - oldCounter1) + counter1;
			  }
		  }
		  oldCounter0 = __HAL_TIM_GET_COUNTER(&htim2);
		  oldCounter1 = __HAL_TIM_GET_COUNTER(&htim5);

		  //speed0.fl = diff0 * 0.0054931640625 * 90.9091;
		  //speed1.fl = diff1 * 0.0054931640625 * 90.9091;
	}
	else if (htim == &htim3) {
		// tof
		GetAllData();
		PrintAllData();
	}
	else if (htim == &htim4) {
		// CAN
		CAN_SendAll();
	}
}
/* USER CODE END 4 */

void Error_Handler(void)
{
  __disable_irq();
  while (1)
  {
  }
}
